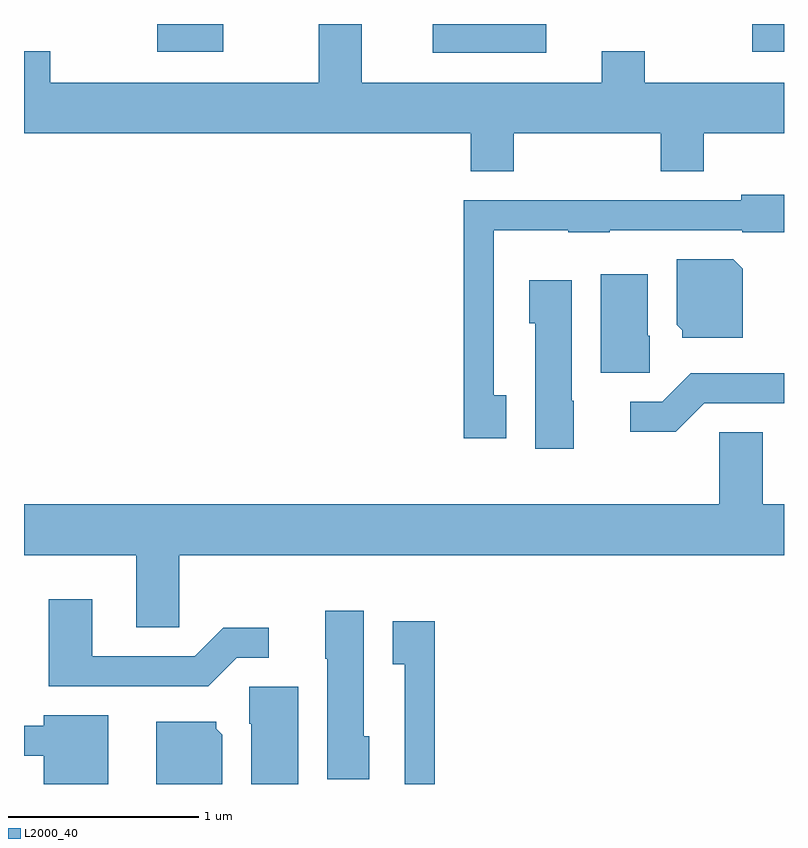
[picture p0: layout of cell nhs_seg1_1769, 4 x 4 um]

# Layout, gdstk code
import gdstk
lib = gdstk.Library(unit=1e-6, precision=1e-09)
def R(c, l, rs):  # rectangles x0, y0, x1, y1
    for r in rs: c.add(gdstk.rectangle(r[:2], r[2:], *l))
def P(c, l, *ps):  # polygons
    for p in ps: c.add(gdstk.Polygon(p, *l))
L2000_40 = (2000, 40)

nhs_seg1_1769 = lib.new_cell('nhs_seg1_1769')
R(nhs_seg1_1769, L2000_40, [(241.763,895.561,242.359,895.712), (240.313,895.566,240.659,895.712), (243.443,895.566,243.611,895.712)])
P(nhs_seg1_1769, L2000_40, [(242.189,895.136),(242.961,895.136),(242.961,894.936),(243.189,894.936),(243.189,895.136),(243.611,895.136),(243.611,895.404),(242.879,895.404),(242.879,895.569),(242.651,895.569),(242.651,895.404),(241.389,895.404),(241.389,895.712),(241.161,895.712),(241.161,895.404),(239.749,895.404),(239.749,895.569),(239.611,895.569),(239.611,895.136),(241.961,895.136),(241.961,894.936),(242.189,894.936)],
  [(242.149,893.759),(242.084,893.759),(242.084,894.626),(242.475,894.626),(242.475,894.616),(242.695,894.616),(242.695,894.626),(243.39,894.626),(243.39,894.616),(243.611,894.616),(243.611,894.814),(243.386,894.814),(243.386,894.784),(241.926,894.784),(241.926,893.531),(242.149,893.531)],
  [(243.394,894.424),(243.344,894.474),(243.046,894.474),(243.046,894.129),(243.076,894.099),(243.076,894.061),(243.394,894.061)],
  [(242.904,894.07),(242.894,894.07),(242.894,894.394),(242.646,894.394),(242.646,893.876),(242.904,893.876)],
  [(242.504,893.73),(242.494,893.73),(242.494,894.364),(242.271,894.364),(242.271,894.136),(242.301,894.136),(242.301,893.476),(242.504,893.476)],
  [(243.192,893.716),(243.611,893.716),(243.611,893.874),(243.119,893.874),(242.969,893.724),(242.803,893.724),(242.803,893.566),(243.042,893.566)],
  [(240.429,892.916),(243.611,892.916),(243.611,893.184),(243.499,893.184),(243.499,893.564),(243.271,893.564),(243.271,893.184),(239.611,893.184),(239.611,892.916),(240.201,892.916),(240.201,892.536),(240.429,892.536)],
  [(240.732,892.376),(240.898,892.376),(240.898,892.534),(240.659,892.534),(240.509,892.384),(239.969,892.384),(239.969,892.684),(239.741,892.684),(239.741,892.226),(240.582,892.226)],
  [(241.429,891.964),(241.399,891.964),(241.399,892.624),(241.196,892.624),(241.196,892.37),(241.206,892.37),(241.206,891.736),(241.429,891.736)],
  [(241.774,892.569),(241.551,892.569),(241.551,892.341),(241.616,892.341),(241.616,891.712),(241.774,891.712)],
  [(241.054,892.224),(240.796,892.224),(240.796,892.03),(240.806,892.03),(240.806,891.712),(241.054,891.712)],
  [(240.054,892.074),(239.716,892.074),(239.716,892.019),(239.611,892.019),(239.611,891.861),(239.716,891.861),(239.716,891.712),(240.054,891.712)],
  [(240.654,891.972),(240.624,892.002),(240.624,892.039),(240.306,892.039),(240.306,891.712),(240.654,891.712)])

lib.write_gds('nhs_seg1_1769.gds')
